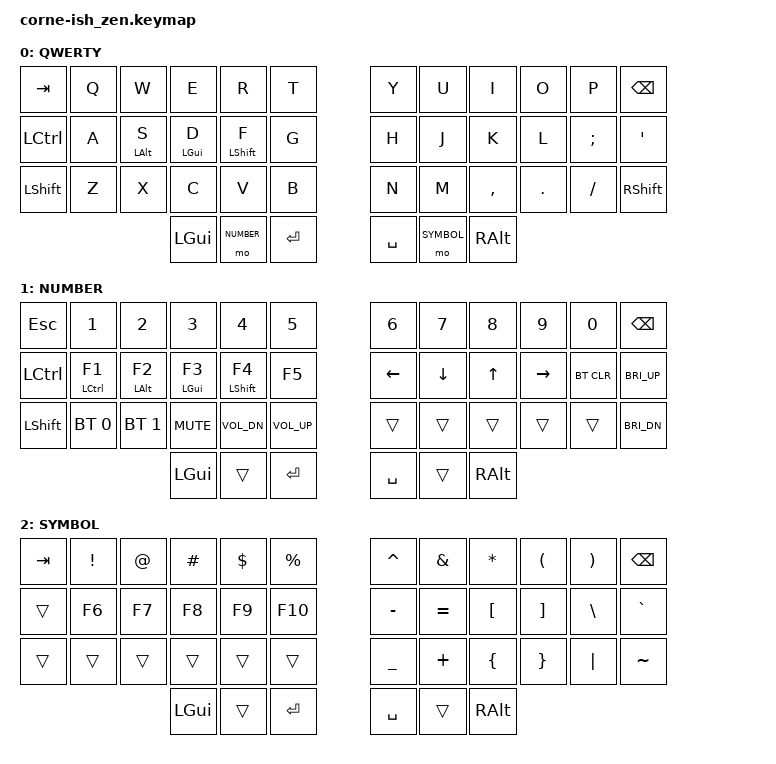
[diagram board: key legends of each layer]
/*
*
* Copyright (c) 2021 Darryl deHaan
* SPDX-License-Identifier: MIT
*
*/

#include <behaviors.dtsi>
#include <dt-bindings/zmk/bt.h>
#include <dt-bindings/zmk/keys.h>

&mt { tapping-term-ms = <400>; };

#define QWERTY 0
#define NUMBER 1
#define SYMBOL 2

/ {
    chosen {
        zmk,matrix_transform = &default_transform;

        //zmk,matrix_transform = &five_column_transform;
    };
};

/ {
    keymap {
        compatible = "zmk,keymap";

        default_layer {
            label = "QWERTY";

            // -----------------------------------------------------------------------------------------
            // | TAB  |  Q  |  W  |  E  |  R  |  T  |   |  Y  |  U   |  I  |  O  |  P  | BKSP |
            // | CTRL |  A  |  S  |  D  |  F  |  G  |   |  H  |  J   |  K  |  L  |  ;  |  '   |
            // | SHFT |  Z  |  X  |  C  |  V  |  B  |   |  N  |  M   |  ,  |  .  |  /  | SHFT |
            //                    | GUI | LWR | ENT |   | SPC | RSE  | ALT |

            bindings = <
&kp TAB    &kp Q  &kp W           &kp E           &kp R         &kp T      &kp Y      &kp U       &kp I      &kp O    &kp P          &kp BSPC
&kp LCTRL  &kp A  &mt LEFT_ALT S  &mt LEFT_GUI D  &mt LSHIFT F  &kp G      &kp H      &kp J       &kp K      &kp L    &kp SEMICOLON  &kp SQT
&kp LSHFT  &kp Z  &kp X           &kp C           &kp V         &kp B      &kp N      &kp M       &kp COMMA  &kp DOT  &kp FSLH       &kp RSHFT
                                  &kp LGUI        &mo NUMBER    &kp RET    &kp SPACE  &mo SYMBOL  &kp RALT
            >;
        };

        lower_layer {
            label = "NUMBER";

            // -----------------------------------------------------------------------------------------
            // | ESC  |  1  |  2  |  3  |  4  |  5  |   |  6  |  7  |  8  |  9  |  0  | BKSP    |
            // | CTRL |  F1 | F2  |  F3 |  F4 | F5  |   | LFT | DWN |  UP | RGT |     | Volume+ |
            // | SHFT | BT1 | BT2 | BT3 | BT4 | BT5 |   |     |     |     |     |     | Volume- |
            //                    | GUI |     | ENT |   | SPC |     | ALT |

            bindings = <
&kp ESC    &kp N1        &kp N2           &kp N3           &kp N4             &kp N5          &kp N6     &kp N7    &kp N8    &kp N9     &kp N0      &kp BSPC
&kp LCTRL  &mt LCTRL F1  &mt LEFT_ALT F2  &mt LEFT_GUI F3  &mt LEFT_SHIFT F4  &kp F5          &kp LEFT   &kp DOWN  &kp UP    &kp RIGHT  &bt BT_CLR  &kp C_BRI_UP
&kp LSHFT  &bt BT_SEL 0  &bt BT_SEL 1     &kp C_MUTE       &kp C_VOL_DN       &kp C_VOL_UP    &trans     &trans    &trans    &trans     &trans      &kp C_BRI_DN
                                          &kp LGUI         &trans             &kp RET         &kp SPACE  &trans    &kp RALT
            >;
        };

        raise_layer {
            label = "SYMBOL";

            // -----------------------------------------------------------------------------------------
            // | TAB     |  !  |  @  |  #  |  $  |  %  |   |  ^  |  &  |  *  |  (  |  )  | BKSP |
            // | BRIGHT+ |  F6 | F7  |  F8 |  F9 | F10 |   |  -  |  =  |  [  |  ]  |  \  |  `   |
            // | BRIGHT- |     |     |     |     |BTCLR|   |  _  |  +  |  {  |  }  | "|" |  ~   |
            //                       | GUI |     | ENT |   | SPC |     | ALT |

            bindings = <
&kp TAB  &kp EXCL  &kp AT  &kp HASH  &kp DLLR  &kp PRCNT    &kp CARET  &kp AMPS   &kp ASTERISK  &kp LPAR  &kp RPAR  &kp BSPC
&trans   &kp F6    &kp F7  &kp F8    &kp F9    &kp F10      &kp MINUS  &kp EQUAL  &kp LBKT      &kp RBKT  &kp BSLH  &kp GRAVE
&trans   &trans    &trans  &trans    &trans    &trans       &kp UNDER  &kp PLUS   &kp LBRC      &kp RBRC  &kp PIPE  &kp TILDE
                           &kp LGUI  &trans    &kp RET      &kp SPACE  &trans     &kp RALT
            >;
        };
    };
};
